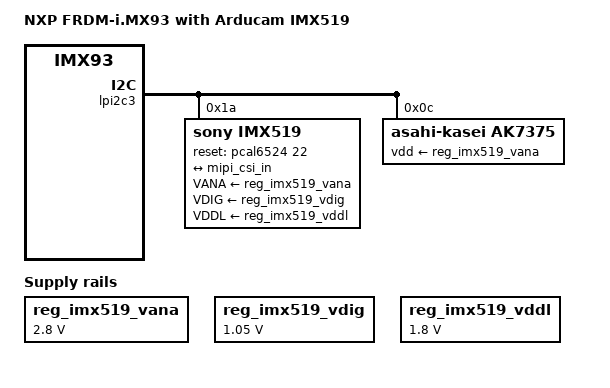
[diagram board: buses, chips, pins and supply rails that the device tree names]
// SPDX-License-Identifier: GPL-2.0
/*
 * FRDM-i.MX93 + Arducam IMX519, for linux-imx lf-6.18.2-1.0.0
 * (hostname imx93-11x11-lpddr4x-frdm, uname 6.18.2-1.0.0-g*).
 *
 * Replaces the stock AP1302 camera. The module goes on P6 (MIPI CSI), not P7
 * (MIPI DSI): only P6 carries CAM_MCLK and CSI_nRST.
 *
 * Boot:
 *   setenv fdtfile imx93-11x11-frdm-imx519.dtb
 */
#include "imx93-11x11-frdm.dts"

/ {
	model = "NXP FRDM-i.MX93 with Arducam IMX519";
	compatible = "fsl,imx93-11x11-frdm-imx519", "fsl,imx93-11x11-frdm",
		     "fsl,imx93";

	/*
	 * The Arducam B0371 carries its own LDOs and runs off the 3.3 V that
	 * P6 pin 22 (DSI&CAM_3V3) supplies unconditionally, so model all three
	 * rails as always-on fixed regulators.
	 *
	 * Do not reuse the stock reg_avdd_2v8 / reg_vddio_1v8: those are gated
	 * by adp5585_isp at I2C 0x34, which sits on NXP's AP1302 camera module.
	 * With that module absent the expander never probes and the sensor is
	 * stuck in deferred probe ("supplier regulator-vddo not ready").
	 */
	reg_imx519_vana: regulator-imx519-vana {
		compatible = "regulator-fixed";
		regulator-name = "imx519_vana";
		regulator-min-microvolt = <2800000>;
		regulator-max-microvolt = <2800000>;
		regulator-always-on;
	};

	reg_imx519_vdig: regulator-imx519-vdig {
		compatible = "regulator-fixed";
		regulator-name = "imx519_vdig";
		regulator-min-microvolt = <1050000>;
		regulator-max-microvolt = <1050000>;
		regulator-always-on;
	};

	reg_imx519_vddl: regulator-imx519-vddl {
		compatible = "regulator-fixed";
		regulator-name = "imx519_vddl";
		regulator-min-microvolt = <1800000>;
		regulator-max-microvolt = <1800000>;
		regulator-always-on;
	};
};

/* 6.18 CSI graph: imx519 -> mipi_csi_in -> mipi_csi_out -> isi_in */
&mipi_csi_in {
	remote-endpoint = <&imx519_ep>;
	data-lanes = <1 2>;
	clock-lanes = <0>;
};

&lpi2c3 {
	/delete-node/ ap1302_mipi@3c;

	imx519: imx519@1a {
		compatible = "sony,imx519";
		reg = <0x1a>;
		status = "okay";

		clocks = <&clk IMX93_CLK_24M>;
		clock-names = "xclk";

		/*
		 * P6 pin 17 = PCAL6524 P2_6 = line 22. NXP names this signal
		 * CSI_nRST because their AP1302 module uses it as an
		 * active-low reset, but on a Raspberry-Pi-standard module it
		 * is CAM_IO0: an active-high enable that gates the module's
		 * own LDOs and its 24 MHz oscillator. The Arducam B0371
		 * follows the Pi standard, so the driver's logical "enable"
		 * has to reach the pin as a physical high.
		 */
		reset-gpios = <&pcal6524 22 GPIO_ACTIVE_HIGH>;

		VANA-supply = <&reg_imx519_vana>;
		VDIG-supply = <&reg_imx519_vdig>;
		VDDL-supply = <&reg_imx519_vddl>;

		rotation = <0>;
		orientation = <2>;
		lens-focus = <&ak7375>;

		port {
			imx519_ep: endpoint {
				remote-endpoint = <&mipi_csi_in>;
				clock-lanes = <0>;
				data-lanes = <1 2>;
				clock-noncontinuous;
				link-frequencies = /bits/ 64 <408000000>;
			};
		};
	};

	ak7375: ak7375@c {
		compatible = "asahi-kasei,ak7375";
		reg = <0x0c>;
		status = "okay";
		vdd-supply = <&reg_imx519_vana>;
	};
};
